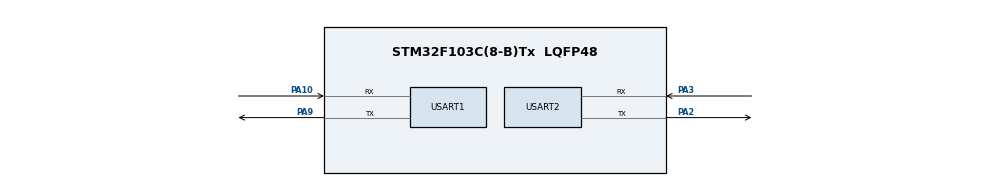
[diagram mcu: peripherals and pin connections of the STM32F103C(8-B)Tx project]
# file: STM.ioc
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Mcu.Family=STM32F1
Mcu.Name=STM32F103C(8-B)Tx
Mcu.Package=LQFP48
NVIC.PriorityGroup=NVIC_PRIORITYGROUP_4
NVIC.USART2_IRQn=true\:0\:0\:false\:false\:true\:true\:true\:true
PA10.Mode=Asynchronous
PA10.Signal=USART1_RX
PA13.Mode=Serial_Wire
PA13.Signal=SYS_JTMS-SWDIO
PA14.Mode=Serial_Wire
PA14.Signal=SYS_JTCK-SWCLK
PA2.Mode=Asynchronous
PA2.Signal=USART2_TX
PA3.Mode=Asynchronous
PA3.Signal=USART2_RX
PA9.Mode=Asynchronous
PA9.Signal=USART1_TX
ProjectManager.HeapSize=0x200
ProjectManager.StackSize=0x400
ProjectManager.TargetToolchain=MDK-ARM V5.32
RCC.APB1Freq_Value=8000000
RCC.APB2Freq_Value=8000000
USART1.VirtualMode=VM_ASYNC
USART2.VirtualMode=VM_ASYNC
board=custom

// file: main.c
/* USER CODE BEGIN Header */
/**
  ******************************************************************************
  * @file           : main.c
  * @brief          : iBUS 遥控协议解包 + 串口调试
  *
  * 接线：
  *   接收机 iA6B  B/VCC +  -> 5V
  *   接收机 iA6B  B/VCC -  -> G
  *   接收机 iA6B  CH4   S  -> PA3   (USART2_RX)
  *   CH340        RX       -> PA9   (USART1_TX)
  *   CH340        GND      -> G
  *
  * 串口助手：设备管理器里 CH340 的 COM 口，115200 8N1
  *
  * 说明：所有自定义代码都在 USER CODE 区内，
  *       在 CubeMX 里修改并重新 Generate Code 不会丢失。
  ******************************************************************************
  */
/* USER CODE END Header */
#include "main.h"

/* USER CODE BEGIN Includes */
#include <stdio.h>
#include <stdint.h>
#include <stdarg.h>
/* USER CODE END Includes */

UART_HandleTypeDef huart1;
UART_HandleTypeDef huart2;

/* USER CODE BEGIN PV */
static volatile int16_t  g_ch[14];    /* 解出的通道（PPM，单位 us，1000~2000）*/
static volatile uint16_t g_ok;        /* 完整帧计数 */
static volatile uint16_t g_err;       /* 异常帧计数（备用）*/
static volatile uint32_t g_tick;      /* 最近一帧的时刻 */
static volatile uint32_t g_bytes;     /* 收到的边沿数（诊断用）*/
static volatile uint16_t s_last;      /* 上一次边沿的时间戳(us) */
static volatile uint8_t  s_idx;       /* 当前帧里的第几个通道 */
static volatile uint8_t  g_failsafe;  /* 1 = 遥控失联 */
static uint32_t t_print;              /* 打印计时 */
/* USER CODE END PV */

void SystemClock_Config(void);
static void MX_GPIO_Init(void);
static void MX_USART1_UART_Init(void);
static void MX_USART2_UART_Init(void);

/* USER CODE BEGIN 0 */

/* printf 重定向到 USART1（Keil：Options -> Target 勾 Use MicroLIB） */
int fputc(int ch, FILE *f)
{
  HAL_UART_Transmit(&huart1, (uint8_t *)&ch, 1, 10);
  return ch;
}

/* 不依赖 MicroLIB 的打印函数：先格式化到缓冲区，再用 HAL 发出去。
   即使没勾 Use MicroLIB 也能正常输出。 */
static void dbg(const char *fmt, ...)
{
  char buf[128];
  va_list ap;
  int n;

  va_start(ap, fmt);
  n = vsnprintf(buf, sizeof(buf), fmt, ap);
  va_end(ap);

  if (n > 0)
  {
    if (n > (int)sizeof(buf)) n = (int)sizeof(buf);
    HAL_UART_Transmit(&huart1, (uint8_t *)buf, (uint16_t)n, 20);
  }
}

/* ================= PPM 解码 =================
   接收机 CH1 输出 PPM：每个通道用"上升沿到上升沿"的间隔表示，
   1000~2000us 对应通道最小值~最大值，帧尾有一个 >3ms 的同步间隔。

   接线：接收机 CH1 的 S  ->  PA0
*/
static void PPM_Init(void)
{
  GPIO_InitTypeDef GPIO_InitStruct = {0};

  __HAL_RCC_GPIOA_CLK_ENABLE();
  __HAL_RCC_TIM2_CLK_ENABLE();

  /* PA0：上升沿外部中断；下拉，防止信号线拔掉后悬空拾取噪声 */
  GPIO_InitStruct.Pin = GPIO_PIN_0;
  GPIO_InitStruct.Mode = GPIO_MODE_IT_RISING;
  GPIO_InitStruct.Pull = GPIO_PULLDOWN;
  HAL_GPIO_Init(GPIOA, &GPIO_InitStruct);

  /* TIM2：1 MHz 自由计数器，用来打时间戳 */
  TIM2->PSC = 7;              /* 8MHz / 8 = 1MHz，1 个计数 = 1us */
  TIM2->ARR = 0xFFFF;
  TIM2->EGR = TIM_EGR_UG;
  TIM2->CR1 = TIM_CR1_CEN;

  HAL_NVIC_SetPriority(EXTI0_IRQn, 1, 0);
  HAL_NVIC_EnableIRQ(EXTI0_IRQn);
}

/* PC13 板载 LED（低电平点亮），用来指示失联 */
static void LED_Init(void)
{
  GPIO_InitTypeDef g = {0};

  __HAL_RCC_GPIOC_CLK_ENABLE();
  g.Pin   = GPIO_PIN_13;
  g.Mode  = GPIO_MODE_OUTPUT_PP;
  g.Pull  = GPIO_NOPULL;
  g.Speed = GPIO_SPEED_FREQ_LOW;
  HAL_GPIO_Init(GPIOC, &g);

  HAL_GPIO_WritePin(GPIOC, GPIO_PIN_13, GPIO_PIN_SET);   /* 灭 */
}

/* 把 1000~2000us 归一化到 -1000~1000（整数，避免 printf 打浮点） */
static int norm_x1000(int16_t us)
{
  int v = ((int)us - 1500) * 2;      /* 1000->-1000, 1500->0, 2000->+1000 */

  if (v >  1000) v =  1000;
  if (v < -1000) v = -1000;
  if (v > -30 && v < 30) v = 0;      /* 3% 死区，消除摇杆回中漂移 */

  return v;
}

/* 每个上升沿进一次 */
void EXTI0_IRQHandler(void)
{
  uint16_t now, d;

  if (__HAL_GPIO_EXTI_GET_IT(GPIO_PIN_0) == RESET) return;
  __HAL_GPIO_EXTI_CLEAR_IT(GPIO_PIN_0);

  now = (uint16_t)TIM2->CNT;
  d   = (uint16_t)(now - s_last);    /* 两次上升沿的间隔(us) */
  s_last = now;
  g_bytes++;                          /* 边沿计数，诊断用 */

  if (d > 3000u)                      /* 帧同步：间隔超过 3ms */
  {
    s_idx = 0;
  }
  else if (d < 600u)                  /* 帧首的短脉冲，不是通道值，丢掉 */
  {
    /* 忽略 */
  }
  else if (s_idx < 14u)
  {
    g_ch[s_idx++] = (int16_t)d;       /* 这就是通道值(us) */
    if (s_idx == 6u)
    {
      g_ok++;                         /* 收满 6 个通道才算一帧有效 */
      g_tick = HAL_GetTick();         /* 只有有效帧才刷新"最后在线时间" */
    }
  }
}

/* USER CODE END 0 */

int main(void)
{

  /* MCU Configuration--------------------------------------------------------*/

  HAL_Init();

  SystemClock_Config();

  /* Initialize all configured peripherals */
  MX_GPIO_Init();
  MX_USART1_UART_Init();
  MX_USART2_UART_Init();
  /* USER CODE BEGIN 2 */
  PPM_Init();                                   /* PA0 输入捕获 + TIM2 时基 */
  LED_Init();                                   /* PC13 失联指示 */
  dbg("\r\n==== PPM test start ====\r\n");
  /* USER CODE END 2 */

  /* Infinite loop */
  while (1)
  {
    /* USER CODE BEGIN 3 */
    if (HAL_GetTick() - t_print >= 200U)
    {
      t_print = HAL_GetTick();

      /* 失联判断：超过 100ms 没有新的一帧 */
      g_failsafe = (uint8_t)((HAL_GetTick() - g_tick) > 100U);

      if (g_failsafe)
      {
        HAL_GPIO_TogglePin(GPIOC, GPIO_PIN_13);      /* 失联：LED 闪 */
      }
      else
      {
        HAL_GPIO_WritePin(GPIOC, GPIO_PIN_13, GPIO_PIN_SET);  /* 正常：LED 灭 */
      }

      dbg("fs=%u edges=%lu\r\n",
          (unsigned)g_failsafe, (unsigned long)g_bytes);
      dbg("c1=%d c2=%d c3=%d c4=%d c5=%d c6=%d\r\n",
          g_ch[0], g_ch[1], g_ch[2], g_ch[3], g_ch[4], g_ch[5]);
      dbg("v1=%d v2=%d v3=%d v4=%d\r\n",
          norm_x1000(g_ch[0]), norm_x1000(g_ch[1]),
          norm_x1000(g_ch[2]), norm_x1000(g_ch[3]));
    }
    /* USER CODE END 3 */
  }
}

void SystemClock_Config(void)
{
  RCC_OscInitTypeDef RCC_OscInitStruct = {0};
  RCC_ClkInitTypeDef RCC_ClkInitStruct = {0};

  RCC_OscInitStruct.OscillatorType = RCC_OSCILLATORTYPE_HSI;
  RCC_OscInitStruct.HSIState = RCC_HSI_ON;
  RCC_OscInitStruct.HSICalibrationValue = RCC_HSICALIBRATION_DEFAULT;
  RCC_OscInitStruct.PLL.PLLState = RCC_PLL_NONE;
  if (HAL_RCC_OscConfig(&RCC_OscInitStruct) != HAL_OK)
  {
    Error_Handler();
  }

  RCC_ClkInitStruct.ClockType = RCC_CLOCKTYPE_HCLK|RCC_CLOCKTYPE_SYSCLK
                              |RCC_CLOCKTYPE_PCLK1|RCC_CLOCKTYPE_PCLK2;
  RCC_ClkInitStruct.SYSCLKSource = RCC_SYSCLKSOURCE_HSI;
  RCC_ClkInitStruct.AHBCLKDivider = RCC_SYSCLK_DIV1;
  RCC_ClkInitStruct.APB1CLKDivider = RCC_HCLK_DIV1;
  RCC_ClkInitStruct.APB2CLKDivider = RCC_HCLK_DIV1;

  if (HAL_RCC_ClockConfig(&RCC_ClkInitStruct, FLASH_LATENCY_0) != HAL_OK)
  {
    Error_Handler();
  }
}

static void MX_USART1_UART_Init(void)
{

  huart1.Instance = USART1;
  huart1.Init.BaudRate = 115200;
  huart1.Init.WordLength = UART_WORDLENGTH_8B;
  huart1.Init.StopBits = UART_STOPBITS_1;
  huart1.Init.Parity = UART_PARITY_NONE;
  huart1.Init.Mode = UART_MODE_TX_RX;
  huart1.Init.HwFlowCtl = UART_HWCONTROL_NONE;
  huart1.Init.OverSampling = UART_OVERSAMPLING_16;
  if (HAL_UART_Init(&huart1) != HAL_OK)
  {
    Error_Handler();
  }

}

static void MX_USART2_UART_Init(void)
{

  huart2.Instance = USART2;
  huart2.Init.BaudRate = 115200;
  huart2.Init.WordLength = UART_WORDLENGTH_8B;
  huart2.Init.StopBits = UART_STOPBITS_1;
  huart2.Init.Parity = UART_PARITY_NONE;
  huart2.Init.Mode = UART_MODE_TX_RX;
  huart2.Init.HwFlowCtl = UART_HWCONTROL_NONE;
  huart2.Init.OverSampling = UART_OVERSAMPLING_16;
  if (HAL_UART_Init(&huart2) != HAL_OK)
  {
    Error_Handler();
  }
  /* USER CODE BEGIN USART2_Init 2 */
  /* 打开 USART2 接收中断 */
  HAL_NVIC_SetPriority(USART2_IRQn, 2, 0);
  HAL_NVIC_EnableIRQ(USART2_IRQn);
  /* USER CODE END USART2_Init 2 */

}

static void MX_GPIO_Init(void)
{

  /* GPIO Ports Clock Enable */
  __HAL_RCC_GPIOA_CLK_ENABLE();

}

void Error_Handler(void)
{
  __disable_irq();
  while (1)
  {
  }
}
